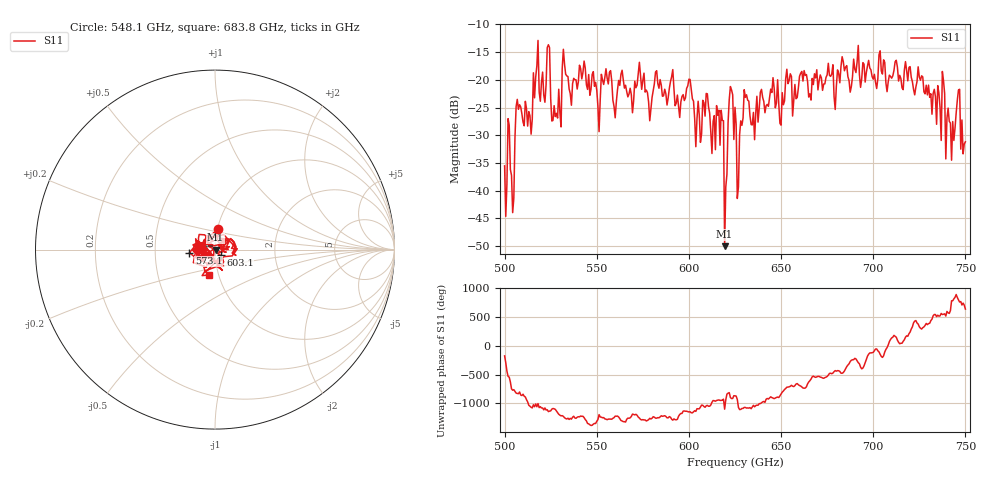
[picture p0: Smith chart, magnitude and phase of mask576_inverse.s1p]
!Created with skrf (http://scikit-rf.org).
# GHz S MA R 50.0
!freq magS11 angS11
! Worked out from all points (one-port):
!   401 points, 500 GHz to 750 GHz, reference 50 ohm
!   lowest |S11| = -50.0 dB at 619.4 GHz (marker M1), VSWR 1.01, Z = 50.3 - j0.102 ohm
!   |S11| at or under -10 dB: start of sweep to end of sweep
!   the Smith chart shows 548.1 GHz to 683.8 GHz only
!   S11 on the Smith chart (normalised r, x): 548.1 GHz: 1.01, +0.24; 573.1 GHz: 0.75, -0.03; 603.1 GHz: 1.06, -0.07; 683.8 GHz: 0.90, -0.26
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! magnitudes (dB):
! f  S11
! 500 GHz  -35.5
! 504.4 GHz  -43.9
! 507.5 GHz  -25.3
! 513.8 GHz  -26.5
! 516.9 GHz  -19.5
! 523.8 GHz  -13.7
! 526.9 GHz  -24.7
! 531.2 GHz  -18.0
! 548.1 GHz  -18.5
! 562.5 GHz  -21.0
! 573.1 GHz  -16.8
! 593.8 GHz  -22.8
! 600 GHz  -19.9
! 603.1 GHz  -27.0
! 617.5 GHz  -25.5
! 619.4 GHz  -50.0
! 622.5 GHz  -21.2
! 625 GHz  -25.0
! 627.5 GHz  -29.9
! 631.2 GHz  -22.7
! 634.4 GHz  -28.1
! 656.2 GHz  -26.5
! 683.8 GHz  -16.7
! 687.5 GHz  -22.2
! 718.8 GHz  -20.2
! 743.1 GHz  -27.5
! 745.6 GHz  -23.7
! 750 GHz  -31.2
